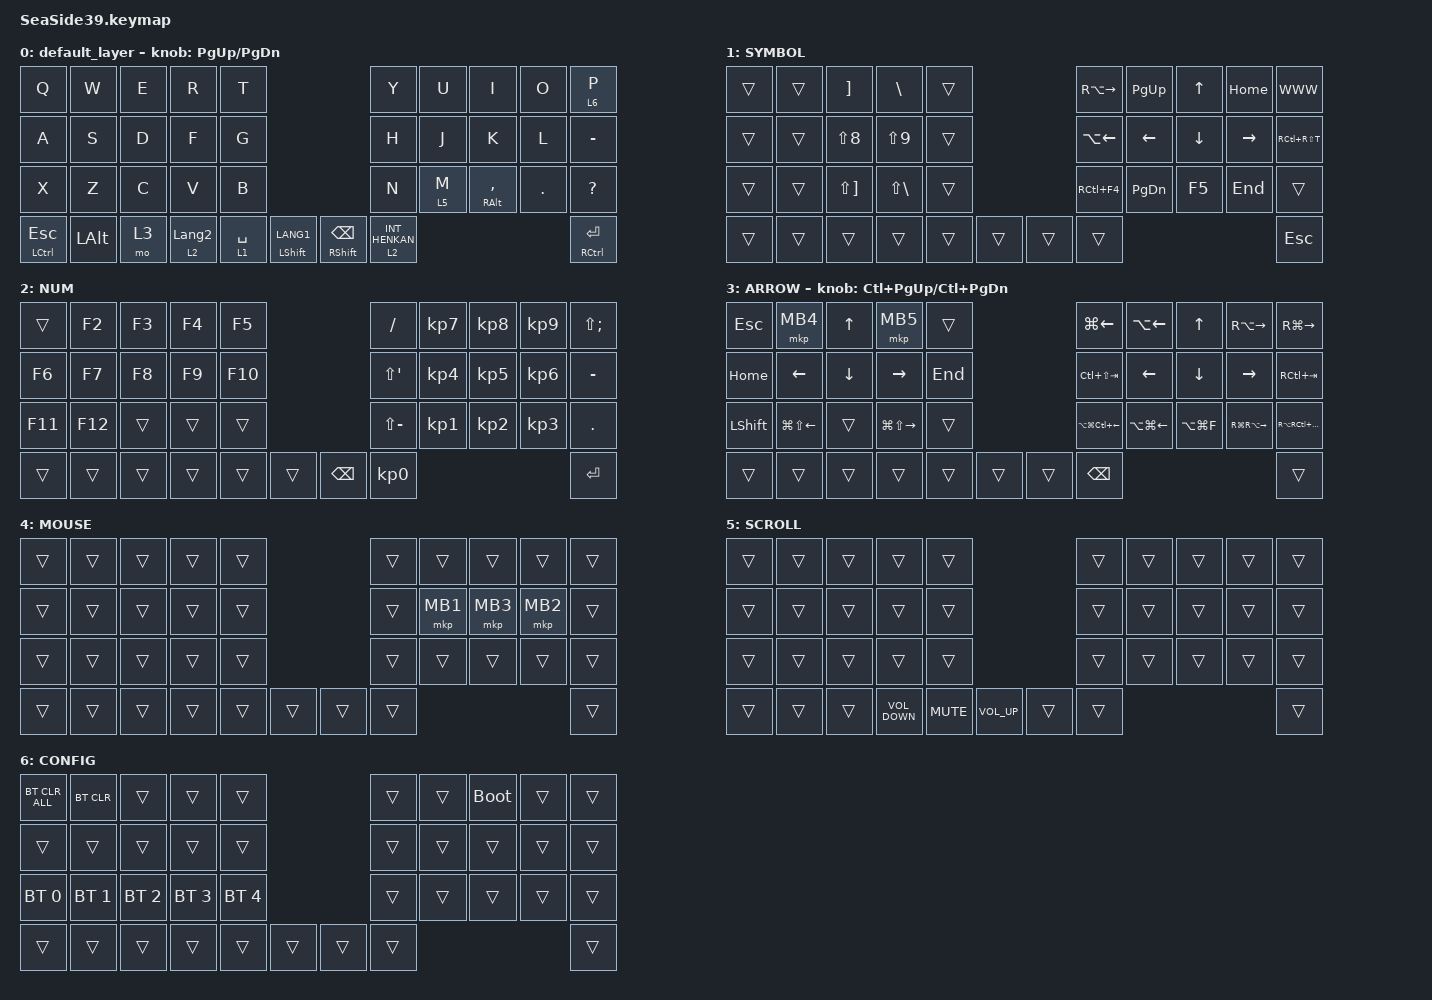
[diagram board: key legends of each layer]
#include <behaviors.dtsi>
#include <dt-bindings/zmk/bt.h>
#include <dt-bindings/zmk/keys.h>
#include <dt-bindings/zmk/pointing.h>

#define MOUSE 4
#define SCROLL 5
#define NUM 6

&mt {
    flavor = "balanced";
    quick-tap-ms = <300>;
};

&lt {
    flavor = "balanced";
    quick-tap-ms = <300>;
};

/ {
    combos {
        compatible = "zmk,combos";

        mb1 {
            bindings = <&mkp MB1>;
            key-positions = <16 17>;
        };

        mb2 {
            bindings = <&mkp MB2>;
            key-positions = <18 17>;
        };

        up {
            bindings = <&kp UP_ARROW>;
            key-positions = <6 8>;
        };

        dw {
            bindings = <&kp DOWN_ARROW>;
            key-positions = <16 18>;
        };

        le {
            bindings = <&kp LEFT_ARROW>;
            key-positions = <6 7>;
        };

        ri {
            bindings = <&kp RIGHT_ARROW>;
            key-positions = <7 8>;
        };

        esc {
            bindings = <&kp ESCAPE>;
            key-positions = <0 1>;
        };

        tab {
            bindings = <&kp TAB>;
            key-positions = <10 11>;
        };

        caps {
            bindings = <&kp CLCK>;
            key-positions = <20 21>;
        };

        dell {
            bindings = <&kp DEL>;
            key-positions = <5 6>;
        };

        lgui {
            bindings = <&kp LEFT_GUI>;
            key-positions = <13 14>;
        };

        rgui {
            bindings = <&kp RIGHT_GUI>;
            key-positions = <15 16>;
        };

        ex {
            bindings = <&kp EXCLAMATION>;
            key-positions = <24 7>;
        };

        sy {
            bindings = <&kp HASH>;
            key-positions = <11 5>;
        };

        do {
            bindings = <&kp DOLLAR>;
            key-positions = <12 8>;
        };

        pa {
            bindings = <&kp PERCENT>;
            key-positions = <9 10>;
        };

        an {
            bindings = <&kp LS(N6)>;
            key-positions = <10 12>;
        };

        ye {
            bindings = <&kp INT_YEN>;
            key-positions = <5 2>;
        };

        at {
            bindings = <&kp LEFT_BRACKET>;
            key-positions = <10 4>;
        };

        ub {
            bindings = <&kp LS(INT1)>;
            key-positions = <6 24>;
        };

        zero {
            bindings = <&kp KP_NUMBER_0>;
            key-positions = <26 27>;
        };
    };

    macros {
        to_layer_0: to_layer_0 {
            compatible = "zmk,behavior-macro-one-param";
            #binding-cells = <1>;
            bindings = <&to 0 &macro_param_1to1 &kp MACRO_PLACEHOLDER>;
            label = "TO_LAYER_0";
        };
    };

    behaviors {
        lt_to_layer_0: lt_to_layer_0 {
            compatible = "zmk,behavior-hold-tap";
            label = "LAYER_TAP_TO_0";
            bindings = <&mo>, <&to_layer_0>;

            #binding-cells = <2>;
            tapping-term-ms = <200>;
        };
    };

    keymap {
        compatible = "zmk,keymap";

        default_layer {
            bindings = <
&kp Q          &kp W         &kp E  &kp R             &kp T                                                             &kp Y             &kp U    &kp I                &kp O       &lt 6 P
&kp A          &kp S         &kp D  &kp F             &kp G                                                             &kp H             &kp J    &kp K                &kp L       &kp MINUS
&kp X          &kp Z         &kp C  &kp V             &kp B                                                             &kp N             &lt 5 M  &mt RIGHT_ALT COMMA  &kp PERIOD  &kp QUESTION
&mt LCTRL ESC  &kp LEFT_ALT  &mo 3  &lt 2 LANGUAGE_2  &lt 1 SPACE  &mt LEFT_SHIFT LANG1      &mt RIGHT_SHIFT BACKSPACE  &lt 2 INT_HENKAN                                            &mt RIGHT_CONTROL ENTER
            >;

            sensor-bindings = <&inc_dec_kp PG_UP PAGE_DOWN>;
        };

        SYMBOL {
            bindings = <
&trans  &trans  &kp RIGHT_BRACKET      &kp BACKSLASH      &trans                      &kp RA(RIGHT_ARROW)  &kp PAGE_UP     &kp UP_ARROW    &kp HOME         &kp K_WWW
&trans  &trans  &kp LS(N8)             &kp LS(N9)         &trans                      &kp LA(LEFT_ARROW)   &kp LEFT_ARROW  &kp DOWN_ARROW  &kp RIGHT_ARROW  &kp RC(RS(T))
&trans  &trans  &kp LS(RIGHT_BRACKET)  &kp LS(BACKSLASH)  &trans                      &kp RC(F4)           &kp PAGE_DOWN   &kp F5          &kp END          &trans
&trans  &trans  &trans                 &trans             &trans  &trans      &trans  &trans                                                                &kp ESC
            >;
        };

        NUM {
            bindings = <
&trans   &kp F2   &kp F3  &kp F4  &kp F5                              &kp SLASH             &kp KP_NUMBER_7  &kp KP_NUMBER_8  &kp KP_NUMBER_9  &kp LS(SEMI)
&kp F6   &kp F7   &kp F8  &kp F9  &kp F10                             &kp LS(SINGLE_QUOTE)  &kp KP_NUMBER_4  &kp KP_NUMBER_5  &kp KP_NUMBER_6  &kp MINUS
&kp F11  &kp F12  &trans  &trans  &trans                              &kp LS(MINUS)         &kp KP_NUMBER_1  &kp KP_NUMBER_2  &kp KP_NUMBER_3  &kp PERIOD
&trans   &trans   &trans  &trans  &trans   &trans      &kp BACKSPACE  &kp KP_NUMBER_0                                                          &kp ENTER
            >;
        };

        ARROW {
            bindings = <
&kp ESCAPE      &mkp MB4                &kp UP_ARROW    &mkp MB5                 &trans                       &kp LG(LEFT_ARROW)          &kp LA(LEFT_ARROW)      &kp UP_ARROW    &kp RA(RIGHT_ARROW)      &kp RG(RIGHT_ARROW)
&kp HOME        &kp LEFT_ARROW          &kp DOWN_ARROW  &kp RIGHT_ARROW          &kp END                      &kp LC(LS(TAB))             &kp LEFT_ARROW          &kp DOWN_ARROW  &kp RIGHT_ARROW          &kp RC(TAB)
&kp LEFT_SHIFT  &kp LG(LS(LEFT_ARROW))  &trans          &kp LG(LS(RIGHT_ARROW))  &trans                       &kp LA(LG(LC(LEFT_ARROW)))  &kp LA(LG(LEFT_ARROW))  &kp LA(LG(F))   &kp RG(RA(RIGHT_ARROW))  &kp RA(RC(RG(RIGHT_ARROW)))
&trans          &trans                  &trans          &trans                   &trans   &trans      &trans  &kp BACKSPACE                                                                                &trans
            >;

            sensor-bindings = <&inc_dec_kp LC(PAGE_UP) LC(PAGE_DOWN)>;
        };

        MOUSE {
            bindings = <
&trans  &trans  &trans  &trans  &trans                      &trans  &trans    &trans    &trans    &trans
&trans  &trans  &trans  &trans  &trans                      &trans  &mkp MB1  &mkp MB3  &mkp MB2  &trans
&trans  &trans  &trans  &trans  &trans                      &trans  &trans    &trans    &trans    &trans
&trans  &trans  &trans  &trans  &trans  &trans      &trans  &trans                                &trans
            >;
        };

        SCROLL {
            bindings = <
&trans  &trans  &trans  &trans             &trans                                   &trans  &trans  &trans  &trans  &trans
&trans  &trans  &trans  &trans             &trans                                   &trans  &trans  &trans  &trans  &trans
&trans  &trans  &trans  &trans             &trans                                   &trans  &trans  &trans  &trans  &trans
&trans  &trans  &trans  &kp C_VOLUME_DOWN  &kp C_MUTE  &kp C_VOLUME_UP      &trans  &trans                          &trans
            >;
        };

        CONFIG {
            bindings = <
&bt BT_CLR_ALL  &bt BT_CLR    &trans        &trans        &trans                            &trans  &trans  &bootloader  &trans  &trans
&trans          &trans        &trans        &trans        &trans                            &trans  &trans  &trans       &trans  &trans
&bt BT_SEL 0    &bt BT_SEL 1  &bt BT_SEL 2  &bt BT_SEL 3  &bt BT_SEL 4                      &trans  &trans  &trans       &trans  &trans
&trans          &trans        &trans        &trans        &trans        &trans      &trans  &trans                               &trans
            >;
        };
    };
};
